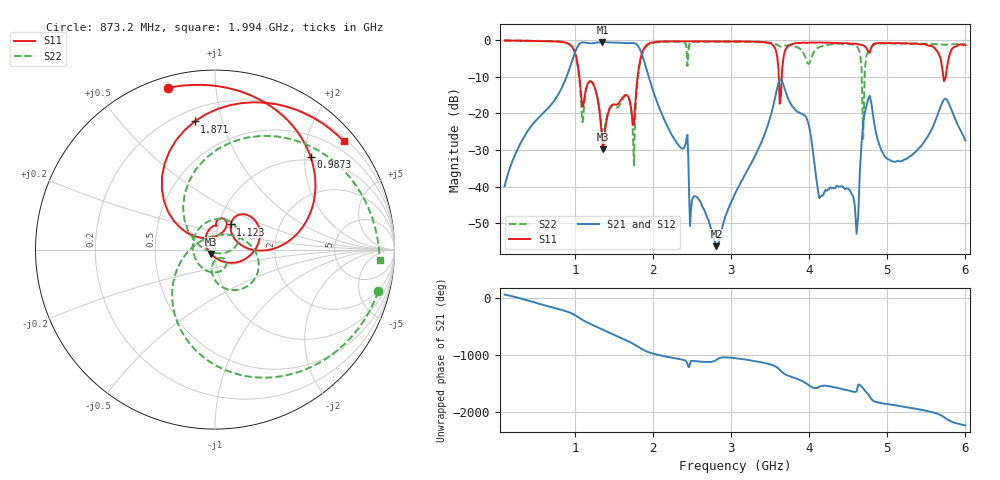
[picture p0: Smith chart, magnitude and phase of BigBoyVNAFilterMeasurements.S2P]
!Agilent Technologies,E5071C,MY46107106,A.09.54
!Date: Mon Jan 01 02:01:51 2001
!Data & Calibration Information:
!Freq	S11:SOLT2(ON)	S21:SOLT2(ON)	S12:SOLT2(ON)	S22:SOLT2(ON)
# Hz S dB R 50
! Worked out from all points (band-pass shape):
!   1001 points, 100 MHz to 6 GHz, reference 50 ohm
!   highest |S21| = -0.47 dB at 1.353 GHz (marker M1); lowest = -56.3 dB at 2.812 GHz (marker M2)
!   |S21| within 3 dB of the highest: 998.8 MHz to 1.853 GHz (853.9 MHz wide, 59.9 % of centre)
!   lowest |S11| = -29.8 dB at 1.359 GHz (marker M3), VSWR 1.07, Z = 47.9 - j2.34 ohm
!   |S11| at or under -10 dB: 1.058 GHz to 1.802 GHz (744.9 MHz wide, 52.1 % of centre); 3.611 GHz to 3.649 GHz (38.49 MHz wide, 1.06 % of centre); 5.718 GHz to 5.748 GHz (29.45 MHz wide, 0.514 % of centre)
!   |S22| runs from -34.2 to 0.0 dB; largest |S21 - S12| = 0.002
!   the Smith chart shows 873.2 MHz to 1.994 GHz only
!   S11 on the Smith chart (normalised r, x): 873.2 MHz: 0.05, +0.75; 987.3 MHz: 0.93, +2.13; 1.123 GHz: 1.14, +0.33; 1.871 GHz: 0.27, +0.82; 1.994 GHz: 0.27, +2.71
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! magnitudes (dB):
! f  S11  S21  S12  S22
! 100 MHz  0.0  -39.9  -39.9  0.0
! 873.2 MHz  -0.6  -11.0  -11.0  -0.5
! 987.3 MHz  -2.6  -4.2  -4.2  -2.7
! 1.088 GHz  -16.8  -0.6  -0.6  -20.2
! 1.123 GHz  -15.6  -0.6  -0.6  -16.7
! 1.232 GHz  -11.8  -0.7  -0.7  -11.8
! 1.353 GHz  -28.8  -0.5  -0.5  -25.3
! 1.359 GHz  -29.8  -0.5  -0.5  -25.7
! 1.748 GHz  -23.2  -0.7  -0.7  -29.4
! 1.871 GHz  -2.8  -4.6  -4.6  -3.3
! 1.994 GHz  -0.6  -13.3  -13.3  -0.7
! 2.068 GHz  -0.3  -17.8  -17.8  -0.5
! 2.812 GHz  -0.3  -56.3  -56.4  -0.3
! 3.059 GHz  -0.3  -41.6  -41.6  -0.3
! 3.638 GHz  -15.0  -10.7  -10.6  -1.7
! 4.039 GHz  -0.6  -28.9  -28.9  -4.1
! 4.162 GHz  -0.6  -42.5  -42.4  -1.5
! 4.522 GHz  -0.9  -41.1  -40.9  -1.0
! 4.776 GHz  -3.4  -15.2  -15.1  -2.8
! 5.029 GHz  -0.7  -32.7  -32.7  -0.8
! 5.726 GHz  -11.1  -16.2  -16.1  -1.2
! 6 GHz  -1.3  -27.4  -27.3  -1.0
